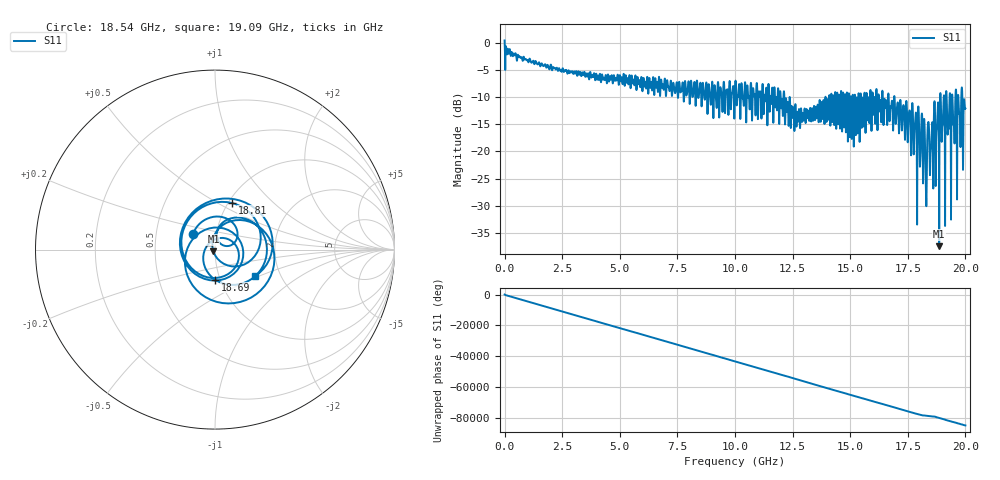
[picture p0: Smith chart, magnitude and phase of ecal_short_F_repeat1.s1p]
! MS46122B
! 2250307/22442219
! 7/28/2025 8:04:00 AM
! C:\USERS\SPARKY\DOCUMENTS\VNA_DATA\JULY28_2025\295K\ECAL_SHORT_F_REPEAT1.S1P
! CHANNEL.1
! TR.MEASUREMENT
! RAW.DATA
# GHZ S RI R 50.0
! FREQ.GHZ  S11RE  S11IM
!; PortSelection: Port_1
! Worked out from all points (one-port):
!   10001 points, 1 MHz to 20 GHz, reference 50 ohm
!   lowest |S11| = -37.4 dB at 18.86 GHz (marker M1), VSWR 1.03, Z = 49.1 - j0.982 ohm
!   |S11| at or under -10 dB: 12.38 GHz to 13.92 GHz (1.548 GHz wide, 11.8 % of centre); 16.67 GHz to 16.91 GHz (235.8 MHz wide, 1.4 % of centre); 16.92 GHz to 18.9 GHz (1.977 GHz wide, 11 % of centre) (the widest 3 of 74)
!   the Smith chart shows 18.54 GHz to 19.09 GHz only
!   S11 on the Smith chart (normalised r, x): 18.54 GHz: 0.77, +0.13; 18.69 GHz: 0.95, -0.33; 18.81 GHz: 1.04, +0.58; 19.09 GHz: 1.49, -0.47
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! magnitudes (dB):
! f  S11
! 1 MHz  0.4
! 2.501 GHz  -5.0
! 5.001 GHz  -6.0
! 7.501 GHz  -8.4
! 10 GHz  -8.4
! 11.79 GHz  -10.0
! 12.5 GHz  -13.8
! 14.27 GHz  -9.7
! 15 GHz  -13.8
! 16.06 GHz  -10.1
! 17.5 GHz  -18.3
! 17.78 GHz  -17.7
! 17.83 GHz  -14.0
! 17.9 GHz  -26.4
! 17.98 GHz  -13.2
! 18.16 GHz  -25.5
! 18.24 GHz  -17.7
! 18.54 GHz  -16.5
! 18.6 GHz  -21.9
! 18.69 GHz  -15.5
! 18.73 GHz  -18.4
! 18.81 GHz  -11.2
! 18.86 GHz  -37.4
! 19.09 GHz  -11.5
! 19.45 GHz  -12.3
! 19.51 GHz  -15.2
! 19.56 GHz  -11.6
! 20 GHz  -12.1
